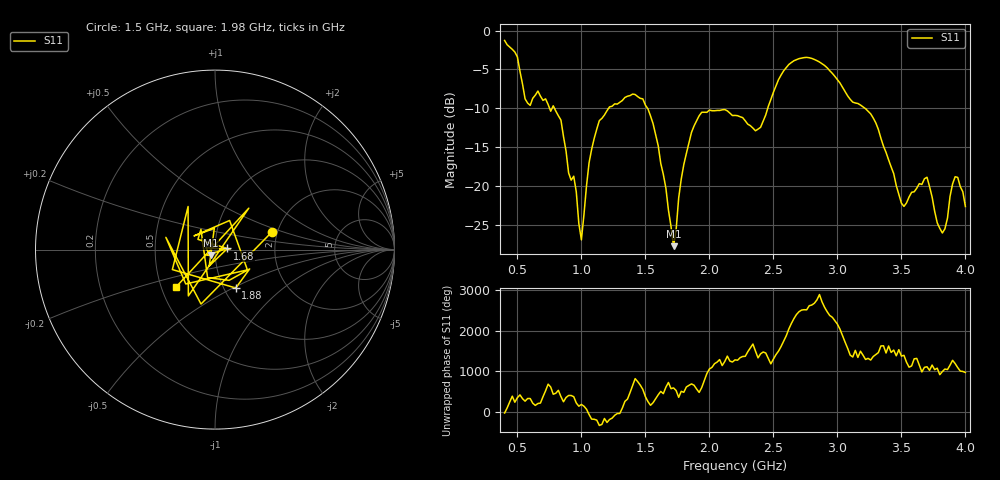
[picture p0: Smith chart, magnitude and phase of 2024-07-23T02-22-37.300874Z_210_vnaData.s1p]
!Created with skrf (http://scikit-rf.org).
# Hz S RI R 50.0
!freq ReS11 ImS11
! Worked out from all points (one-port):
!   181 points, 400 MHz to 4 GHz, reference 50 ohm
!   lowest |S11| = -27.8 dB at 1.72 GHz (marker M1), VSWR 1.09, Z = 47.5 - j3.09 ohm
!   |S11| at or under -10 dB: 789.2 MHz to 1.213 GHz (423.5 MHz wide, 42.3 % of centre); 1.516 GHz to 2.456 GHz (939.2 MHz wide, 47.3 % of centre); 3.215 GHz to end of sweep (the widest 3 of 4)
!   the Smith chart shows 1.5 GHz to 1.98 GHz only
!   S11 on the Smith chart (normalised r, x): 1.5 GHz: 1.87, +0.41; 1.68 GHz: 1.15, +0.02; 1.88 GHz: 1.14, -0.52; 1.98 GHz: 0.60, -0.27
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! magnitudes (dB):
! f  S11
! 400 MHz  -1.3
! 500 MHz  -3.4
! 580 MHz  -9.3
! 660 MHz  -7.8
! 860 MHz  -13.6
! 940 MHz  -18.8
! 1 GHz  -26.9
! 1.06 GHz  -17.0
! 1.12 GHz  -12.7
! 1.3 GHz  -9.2
! 1.5 GHz  -9.6
! 1.6 GHz  -14.8
! 1.68 GHz  -23.1
! 1.72 GHz  -27.8
! 1.76 GHz  -21.6
! 1.88 GHz  -12.3
! 1.98 GHz  -10.5
! 2.2 GHz  -10.9
! 2.4 GHz  -12.5
! 2.66 GHz  -3.9
! 3.1 GHz  -8.8
! 3.28 GHz  -11.3
! 3.5 GHz  -22.2
! 3.56 GHz  -21.4
! 3.7 GHz  -18.9
! 3.82 GHz  -26.1
! 3.92 GHz  -18.8
! 4 GHz  -22.7
